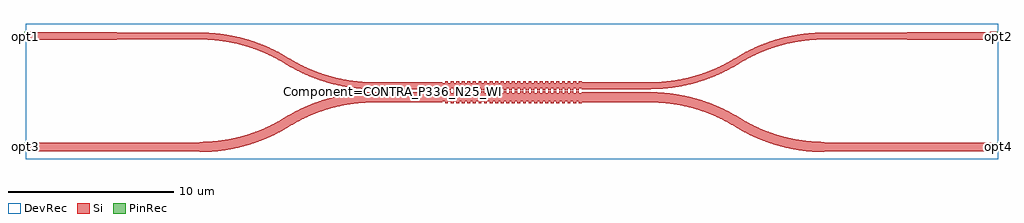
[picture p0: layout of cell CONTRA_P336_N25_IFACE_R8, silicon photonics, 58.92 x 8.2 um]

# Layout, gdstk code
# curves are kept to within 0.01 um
import gdstk
lib = gdstk.Library(unit=1e-6, precision=1e-09)
def R(c, l, rs):  # rectangles x0, y0, x1, y1
    for r in rs: c.add(gdstk.rectangle(r[:2], r[2:], *l))
def A(c, l, x, y, w, h, nx, ny, dx, dy):  # array of equal rectangles
    R(c, l, [(x+i*dx, y+j*dy, x+i*dx+w, y+j*dy+h) for i in range(nx) for j in range(ny)])
def P(c, l, *ps):  # polygons
    for p in ps: c.add(gdstk.Polygon(p, *l))
Si = (1, 0)
PinRec = (1, 10)
DevRec = (68, 0)

contra_p336_a60_n25_si = lib.new_cell('CONTRA_P336_A60_N25_SI')
A(contra_p336_a60_n25_si, Si, 3.088, -0.6, 0.173, 0.4, 25, 1, 0.336, 0)
A(contra_p336_a60_n25_si, Si, 2.925, -0.48, 0.163, 0.4, 25, 1, 0.336, 0)
A(contra_p336_a60_n25_si, Si, 2.925, 0, 0.163, 0.6, 25, 1, 0.336, 0)
A(contra_p336_a60_n25_si, Si, 3.088, 0.12, 0.173, 0.6, 25, 1, 0.336, 0)
R(contra_p336_a60_n25_si, Si, [(-1.2,-0.54,2.925,-0.14), (11.325,-0.54,15.45,-0.14), (-1.2,0.06,2.925,0.66), (11.325,0.06,15.45,0.66)])

if_fan_input_r8 = lib.new_cell('IF_FAN_INPUT_R8')
P(if_fan_input_r8, Si, [(-1.257,0.14),(-2.048,0.175),(-2.722,0.254),(-3.445,0.39),(-4.318,0.628),(-4.958,0.857),(-5.478,1.08),(-6.084,1.385),(-6.853,1.837),(-7.332,2.095),(-7.974,2.389),(-8.585,2.62),(-9.262,2.823),(-10.112,3.005),(-10.596,3.074),(-11.029,3.115),(-11.736,3.14),(-11.736,3.54),(-10.888,3.505),(-10.213,3.426),(-9.435,3.277),(-8.617,3.052),(-7.978,2.823),(-7.458,2.6),(-6.901,2.322),(-5.988,1.789),(-5.604,1.585),(-4.861,1.249),(-4.351,1.06),(-3.674,0.857),(-2.824,0.675),(-2.015,0.574),(-1.2,0.54),(-1.2,0.14)])

if_fan_drop_r8 = lib.new_cell('IF_FAN_DROP_R8')
P(if_fan_drop_r8, Si, [(-11.736,-3.66),(-11.736,-3.06),(-10.983,-3.031),(-10.182,-2.935),(-9.443,-2.785),(-8.617,-2.545),(-8.062,-2.338),(-7.425,-2.05),(-6.997,-1.824),(-6.082,-1.29),(-5.416,-0.962),(-4.674,-0.663),(-3.966,-0.438),(-3.3,-0.276),(-2.567,-0.151),(-1.828,-0.079),(-1.2,-0.06),(-1.2,-0.66),(-1.953,-0.689),(-2.754,-0.785),(-3.597,-0.961),(-4.319,-1.175),(-4.873,-1.382),(-5.511,-1.67),(-5.939,-1.896),(-6.854,-2.43),(-7.52,-2.758),(-8.262,-3.057),(-8.97,-3.282),(-9.636,-3.444),(-10.368,-3.569),(-11.107,-3.641)])

if_fan_through_r8 = lib.new_cell('IF_FAN_THROUGH_R8')
P(if_fan_through_r8, Si, [(15.45,0.14),(15.45,0.54),(16.265,0.574),(17.074,0.675),(17.924,0.857),(18.601,1.06),(19.111,1.249),(19.854,1.585),(20.238,1.789),(21.151,2.322),(21.708,2.6),(22.228,2.823),(22.867,3.052),(23.685,3.277),(24.463,3.426),(25.138,3.505),(25.986,3.54),(25.986,3.14),(25.279,3.115),(24.846,3.074),(24.362,3.005),(23.512,2.823),(22.835,2.62),(22.224,2.389),(21.582,2.095),(21.103,1.837),(20.334,1.385),(19.728,1.08),(19.208,0.857),(18.568,0.628),(17.695,0.39),(16.972,0.254),(16.298,0.175)])

if_fan_aux_r8 = lib.new_cell('IF_FAN_AUX_R8')
P(if_fan_aux_r8, Si, [(25.929,-3.66),(25.357,-3.641),(24.618,-3.569),(23.886,-3.444),(23.22,-3.282),(22.512,-3.057),(21.77,-2.758),(21.104,-2.43),(20.189,-1.896),(19.761,-1.67),(19.123,-1.382),(18.569,-1.175),(17.847,-0.961),(17.004,-0.785),(16.203,-0.689),(15.45,-0.66),(15.45,-0.06),(16.078,-0.079),(16.817,-0.151),(17.55,-0.276),(18.216,-0.438),(18.924,-0.663),(19.666,-0.962),(20.332,-1.29),(21.247,-1.824),(21.675,-2.05),(22.312,-2.338),(22.867,-2.545),(23.693,-2.785),(24.432,-2.935),(25.233,-3.031),(25.986,-3.06),(25.986,-3.66)])

if_taper_input_r8 = lib.new_cell('IF_TAPER_INPUT_R8')
P(if_taper_input_r8, Si, [(-21.736,3.09),(-21.736,3.59),(-11.736,3.54),(-11.736,3.14)])

if_taper_drop_r8 = lib.new_cell('IF_TAPER_DROP_R8')
P(if_taper_drop_r8, Si, [(-11.736,-3.66),(-21.736,-3.61),(-21.736,-3.11),(-11.736,-3.06)])

if_taper_through_r8 = lib.new_cell('IF_TAPER_THROUGH_R8')
P(if_taper_through_r8, Si, [(35.986,3.09),(25.986,3.14),(25.986,3.54),(35.986,3.59)])

if_taper_aux_r8 = lib.new_cell('IF_TAPER_AUX_R8')
P(if_taper_aux_r8, Si, [(25.986,-3.66),(25.986,-3.06),(35.986,-3.11),(35.986,-3.61)])

if_500_lead_input_r8 = lib.new_cell('IF_500_LEAD_INPUT_R8')
R(if_500_lead_input_r8, Si, [(-22.236,3.09,-21.736,3.59)])

if_500_lead_through_r8 = lib.new_cell('IF_500_LEAD_THROUGH_R8')
R(if_500_lead_through_r8, Si, [(35.986,3.09,36.486,3.59)])

if_500_lead_drop_r8 = lib.new_cell('IF_500_LEAD_DROP_R8')
R(if_500_lead_drop_r8, Si, [(-22.236,-3.61,-21.736,-3.11)])

if_500_lead_aux_r8 = lib.new_cell('IF_500_LEAD_AUX_R8')
R(if_500_lead_aux_r8, Si, [(35.986,-3.61,36.486,-3.11)])

contra_p336_n25_iface_r8 = lib.new_cell('CONTRA_P336_N25_IFACE_R8')
R(contra_p336_n25_iface_r8, DevRec, [(-22.236,-4.11,36.486,4.09)])
contra_p336_n25_iface_r8.add(gdstk.FlexPath([(-22.136,3.34),(-22.336,3.34)], 0.5, ends="flush", simple_path=True, layer=1, datatype=10))  # PinRec
contra_p336_n25_iface_r8.add(gdstk.FlexPath([(36.386,3.34),(36.586,3.34)], 0.5, ends="flush", simple_path=True, layer=1, datatype=10))  # PinRec
contra_p336_n25_iface_r8.add(gdstk.FlexPath([(-22.136,-3.36),(-22.336,-3.36)], 0.5, ends="flush", simple_path=True, layer=1, datatype=10))  # PinRec
contra_p336_n25_iface_r8.add(gdstk.FlexPath([(36.386,-3.36),(36.586,-3.36)], 0.5, ends="flush", simple_path=True, layer=1, datatype=10))  # PinRec
contra_p336_n25_iface_r8.add(gdstk.Reference(contra_p336_a60_n25_si, (0,0), x_reflection=True))
contra_p336_n25_iface_r8.add(gdstk.Reference(if_fan_input_r8, (0,0)))
contra_p336_n25_iface_r8.add(gdstk.Reference(if_fan_drop_r8, (0,0)))
contra_p336_n25_iface_r8.add(gdstk.Reference(if_fan_through_r8, (0,0)))
contra_p336_n25_iface_r8.add(gdstk.Reference(if_fan_aux_r8, (0,0)))
contra_p336_n25_iface_r8.add(gdstk.Reference(if_taper_input_r8, (0,0)))
contra_p336_n25_iface_r8.add(gdstk.Reference(if_taper_drop_r8, (0,0)))
contra_p336_n25_iface_r8.add(gdstk.Reference(if_taper_through_r8, (0,0)))
contra_p336_n25_iface_r8.add(gdstk.Reference(if_taper_aux_r8, (0,0)))
contra_p336_n25_iface_r8.add(gdstk.Reference(if_500_lead_input_r8, (0,0)))
contra_p336_n25_iface_r8.add(gdstk.Reference(if_500_lead_through_r8, (0,0)))
contra_p336_n25_iface_r8.add(gdstk.Reference(if_500_lead_drop_r8, (0,0)))
contra_p336_n25_iface_r8.add(gdstk.Reference(if_500_lead_aux_r8, (0,0)))
contra_p336_n25_iface_r8.add(gdstk.Label('opt1', (-22.236,3.34), layer=1, texttype=10))
contra_p336_n25_iface_r8.add(gdstk.Label('opt2', (36.486,3.34), layer=1, texttype=10))
contra_p336_n25_iface_r8.add(gdstk.Label('opt3', (-22.236,-3.36), layer=1, texttype=10))
contra_p336_n25_iface_r8.add(gdstk.Label('opt4', (36.486,-3.36), layer=1, texttype=10))
contra_p336_n25_iface_r8.add(gdstk.Label('Component=CONTRA_P336_N25_WITH_FOUR_INTERFACES', (0,0), layer=68, texttype=0))
contra_p336_n25_iface_r8.add(gdstk.Label('Lumerical_INTERCONNECT_library=LOCAL_CAD_NO_VALIDATED_CML', (0,0.2), layer=68, texttype=0))
contra_p336_n25_iface_r8.add(gdstk.Label('Spice_param:period=336e-9 N=25 native_Si_unchanged=1 composite_complex_model=0', (0,0.4), layer=68, texttype=0))

lib.write_gds('CONTRA_P336_N25_IFACE_R8.gds')
